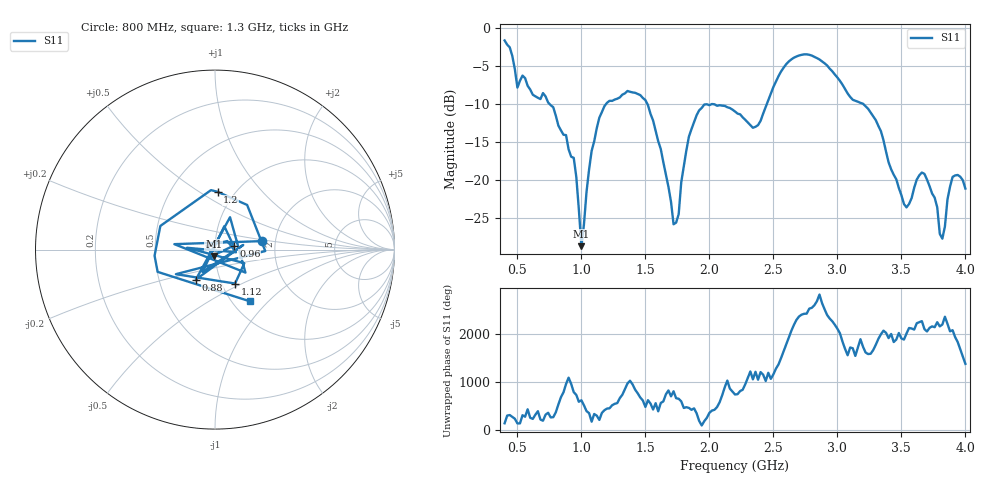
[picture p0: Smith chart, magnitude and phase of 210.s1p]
!Created with skrf (http://scikit-rf.org).
# Hz S RI R 50.0
!freq ReS11 ImS11
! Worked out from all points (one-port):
!   181 points, 400 MHz to 4 GHz, reference 50 ohm
!   lowest |S11| = -28.7 dB at 1 GHz (marker M1), VSWR 1.08, Z = 49.2 - j3.58 ohm
!   |S11| at or under -10 dB: 751.8 MHz to 1.192 GHz (440.7 MHz wide, 45.3 % of centre); 1.516 GHz to 2.019 GHz (503.1 MHz wide, 28.5 % of centre); 3.203 GHz to end of sweep (the widest 3 of 4)
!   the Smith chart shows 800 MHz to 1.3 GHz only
!   S11 on the Smith chart (normalised r, x): 800 MHz: 1.70, +0.17; 880 MHz: 0.77, -0.27; 960 MHz: 1.23, +0.05; 1.12 GHz: 1.15, -0.46; 1.2 GHz: 0.83, +0.60; 1.3 GHz: 1.20, -0.79
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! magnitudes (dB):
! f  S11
! 400 MHz  -1.7
! 500 MHz  -7.8
! 540 MHz  -6.3
! 800 MHz  -11.5
! 860 MHz  -14.0
! 880 MHz  -14.1
! 960 MHz  -19.5
! 1 GHz  -28.7
! 1.06 GHz  -18.6
! 1.12 GHz  -13.2
! 1.2 GHz  -9.8
! 1.3 GHz  -9.1
! 1.52 GHz  -10.1
! 1.72 GHz  -25.8
! 1.76 GHz  -24.5
! 1.84 GHz  -14.3
! 1.92 GHz  -10.8
! 2.2 GHz  -11.0
! 2.38 GHz  -12.8
! 2.66 GHz  -3.9
! 2.86 GHz  -4.1
! 3.1 GHz  -9.1
! 3.3 GHz  -12.1
! 3.56 GHz  -23.1
! 3.68 GHz  -19.2
! 3.82 GHz  -27.7
! 3.9 GHz  -19.6
! 4 GHz  -21.1
